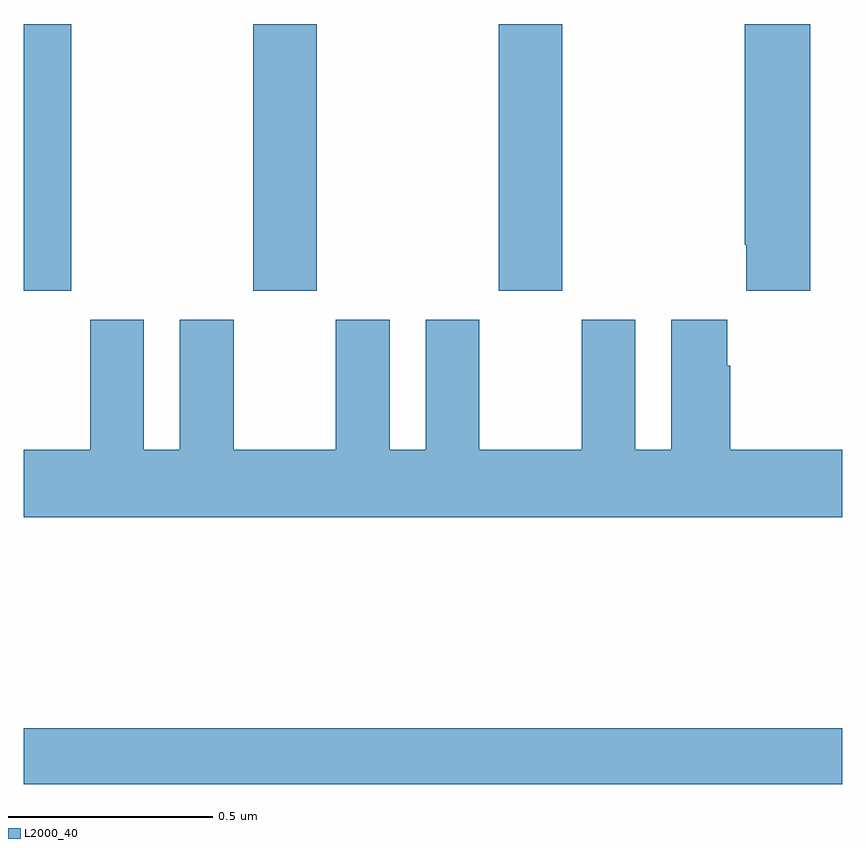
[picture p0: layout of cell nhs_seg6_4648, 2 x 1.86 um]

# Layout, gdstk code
import gdstk
lib = gdstk.Library(unit=1e-6, precision=1e-09)
def R(c, l, rs):  # rectangles x0, y0, x1, y1
    for r in rs: c.add(gdstk.rectangle(r[:2], r[2:], *l))
def P(c, l, *ps):  # polygons
    for p in ps: c.add(gdstk.Polygon(p, *l))
L2000_40 = (2000, 40)

nhs_seg6_4648 = lib.new_cell('nhs_seg6_4648')
R(nhs_seg6_4648, L2000_40, [(172,986.644,174,986.78), (172,987.849,172.116,988.5), (172.561,987.849,172.716,988.5), (173.161,987.849,173.316,988.5)])
P(nhs_seg6_4648, L2000_40, [(173.921,988.5),(173.761,988.5),(173.761,987.961),(173.765,987.961),(173.765,987.849),(173.921,987.849)],
  [(174,987.46),(173.726,987.46),(173.726,987.665),(173.719,987.665),(173.719,987.778),(173.582,987.778),(173.582,987.46),(173.494,987.46),(173.494,987.778),(173.363,987.778),(173.363,987.46),(173.113,987.46),(173.113,987.778),(172.982,987.778),(172.982,987.46),(172.894,987.46),(172.894,987.778),(172.763,987.778),(172.763,987.46),(172.513,987.46),(172.513,987.778),(172.382,987.778),(172.382,987.46),(172.294,987.46),(172.294,987.778),(172.163,987.778),(172.163,987.46),(172,987.46),(172,987.296),(174,987.296)])

lib.write_gds('nhs_seg6_4648.gds')
